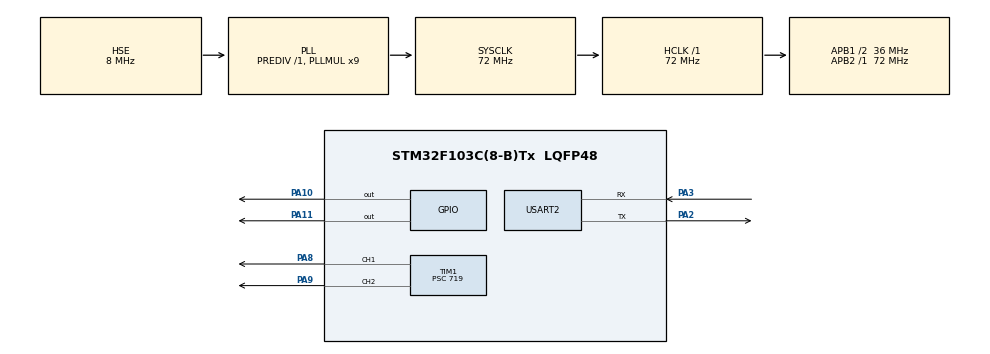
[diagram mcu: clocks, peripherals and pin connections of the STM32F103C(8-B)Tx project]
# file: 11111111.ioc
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Mcu.Family=STM32F1
Mcu.Name=STM32F103C(8-B)Tx
Mcu.Package=LQFP48
NVIC.PriorityGroup=NVIC_PRIORITYGROUP_4
NVIC.USART2_IRQn=true\:0\:0\:false\:false\:true\:true\:true\:true
PA10.Signal=GPIO_Output
PA11.Signal=GPIO_Output
PA13.Mode=Serial_Wire
PA13.Signal=SYS_JTMS-SWDIO
PA14.Mode=Serial_Wire
PA14.Signal=SYS_JTCK-SWCLK
PA2.Mode=Asynchronous
PA2.Signal=USART2_TX
PA3.Mode=Asynchronous
PA3.Signal=USART2_RX
PA8.Signal=S_TIM1_CH1
PA9.Signal=S_TIM1_CH2
PD0-OSC_IN.Mode=HSE-External-Oscillator
PD0-OSC_IN.Signal=RCC_OSC_IN
PD1-OSC_OUT.Mode=HSE-External-Oscillator
PD1-OSC_OUT.Signal=RCC_OSC_OUT
ProjectManager.HeapSize=0x200
ProjectManager.StackSize=0x400
ProjectManager.TargetToolchain=MDK-ARM V5.32
RCC.AHBFreq_Value=72000000
RCC.APB1CLKDivider=RCC_HCLK_DIV2
RCC.APB1Freq_Value=36000000
RCC.APB1TimFreq_Value=72000000
RCC.APB2Freq_Value=72000000
RCC.APB2TimFreq_Value=72000000
RCC.HCLKFreq_Value=72000000
RCC.PLLMUL=RCC_PLL_MUL9
RCC.PLLSourceVirtual=RCC_PLLSOURCE_HSE
RCC.SYSCLKFreq_VALUE=72000000
RCC.SYSCLKSource=RCC_SYSCLKSOURCE_PLLCLK
RCC.USBFreq_Value=72000000
SH.S_TIM1_CH1.0=TIM1_CH1,PWM Generation1 CH1
SH.S_TIM1_CH2.0=TIM1_CH2,PWM Generation2 CH2
TIM1.Channel-PWM\ Generation1\ CH1=TIM_CHANNEL_1
TIM1.Channel-PWM\ Generation2\ CH2=TIM_CHANNEL_2
TIM1.Period=1999
TIM1.Prescaler=719
USART2.VirtualMode=VM_ASYNC
board=custom

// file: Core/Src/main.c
/* USER CODE BEGIN Header */
/**
  ******************************************************************************
  * @file           : main.c
  * @brief          : Main program body
  ******************************************************************************
  * @attention
  *
  * Copyright (c) 2023 STMicroelectronics.
  * All rights reserved.
  *
  * This software is licensed under terms that can be found in the LICENSE file
  * in the root directory of this software component.
  * If no LICENSE file comes with this software, it is provided AS-IS.
  *
  ******************************************************************************
  */
/* USER CODE END Header */
#include "main.h"
#include "tim.h"
#include "usart.h"
#include "gpio.h"

/* USER CODE BEGIN Includes */
#include "stdio.h"
struct PS//定义一个ps按键
{
	int x;
	int y;

};

struct PS ps1;//注册ps1,
/* USER CODE END Includes */

void SystemClock_Config(void);

/* USER CODE BEGIN 0 */

/*int fputc(int c ,FILE *strea)
{

}*/

//-----------------------------------------------------------------------------------------------------------------------//
//重写printf（TX）和scanf（RX）
int fputc(int c, FILE *stream)
{
	uint8_t ch[1] = {c};
	HAL_UART_Transmit(&huart2,ch,1,0xFFFF);
	return c;
}
int fgetc(FILE *stream)
{

	uint8_t ch[1] ;
	HAL_UART_Receive(&huart2,ch,1,0xFFFF);
	return ch[0];
}
//发送回调
void HAL_UART_TxCpltCallback(UART_HandleTypeDef *huart)
{

}
void HAL_UART_RxCpltCallback(UART_HandleTypeDef *huart)//接收回调
{

}
//-----------------------------------------------------------------------------------------------------------------------//

void TX_PS(struct PS *ps1)
{
  //  对蓝牙接收到的ps数据进行解包  ps1
  // ps1.x = ;
  // ps1.y = ;

}

void PWM_Iint()
{
	HAL_TIM_PWM_Start(&htim1,TIM_CHANNEL_1);
	HAL_TIM_PWM_Start(&htim1,TIM_CHANNEL_2);

}

void MOVE(struct PS *ps1)
{

	if((*ps1).x > 0)
	{

	}
	__HAL_TIM_SET_COMPARE(&htim1,TIM_CHANNEL_1 ,(*ps1).x - (*ps1).y);
	__HAL_TIM_SET_COMPARE(&htim1,TIM_CHANNEL_2 , (*ps1).x - (*ps1).y);
}

/* USER CODE END 0 */

int main(void)
{

  /* MCU Configuration--------------------------------------------------------*/

  /* Reset of all peripherals, Initializes the Flash interface and the Systick. */
  HAL_Init();

  /* Configure the system clock */
  SystemClock_Config();

  /* Initialize all configured peripherals */
  MX_GPIO_Init();
  MX_TIM1_Init();
  MX_USART2_UART_Init();
  /* USER CODE BEGIN 2 */
	PWM_Iint();

  /* USER CODE END 2 */

  /* Infinite loop */
  /* USER CODE BEGIN WHILE */
  while (1)
  {
		HAL_GPIO_WritePin(GPIOA,GPIO_PIN_10,1);
		HAL_GPIO_WritePin(GPIOA,GPIO_PIN_11,0);
		struct PS ps1;
		ps1.x = 1000;
		ps1.y = 0;
		__HAL_TIM_SET_COMPARE(&htim1,TIM_CHANNEL_1 ,1000);
	//__HAL_TIM_SET_COMPARE(&htim1,TIM_CHANNEL_2 ,1000);
    /* USER CODE END WHILE */
		MOVE(&ps1);

  }
}

void SystemClock_Config(void)
{
  RCC_OscInitTypeDef RCC_OscInitStruct = {0};
  RCC_ClkInitTypeDef RCC_ClkInitStruct = {0};

  /** Initializes the RCC Oscillators according to the specified parameters
  * in the RCC_OscInitTypeDef structure.
  */
  RCC_OscInitStruct.OscillatorType = RCC_OSCILLATORTYPE_HSE;
  RCC_OscInitStruct.HSEState = RCC_HSE_ON;
  RCC_OscInitStruct.HSEPredivValue = RCC_HSE_PREDIV_DIV1;
  RCC_OscInitStruct.HSIState = RCC_HSI_ON;
  RCC_OscInitStruct.PLL.PLLState = RCC_PLL_ON;
  RCC_OscInitStruct.PLL.PLLSource = RCC_PLLSOURCE_HSE;
  RCC_OscInitStruct.PLL.PLLMUL = RCC_PLL_MUL9;
  if (HAL_RCC_OscConfig(&RCC_OscInitStruct) != HAL_OK)
  {
    Error_Handler();
  }

  /** Initializes the CPU, AHB and APB buses clocks
  */
  RCC_ClkInitStruct.ClockType = RCC_CLOCKTYPE_HCLK|RCC_CLOCKTYPE_SYSCLK
                              |RCC_CLOCKTYPE_PCLK1|RCC_CLOCKTYPE_PCLK2;
  RCC_ClkInitStruct.SYSCLKSource = RCC_SYSCLKSOURCE_PLLCLK;
  RCC_ClkInitStruct.AHBCLKDivider = RCC_SYSCLK_DIV1;
  RCC_ClkInitStruct.APB1CLKDivider = RCC_HCLK_DIV2;
  RCC_ClkInitStruct.APB2CLKDivider = RCC_HCLK_DIV1;

  if (HAL_RCC_ClockConfig(&RCC_ClkInitStruct, FLASH_LATENCY_2) != HAL_OK)
  {
    Error_Handler();
  }
}

void Error_Handler(void)
{
  __disable_irq();
  while (1)
  {
  }
}
